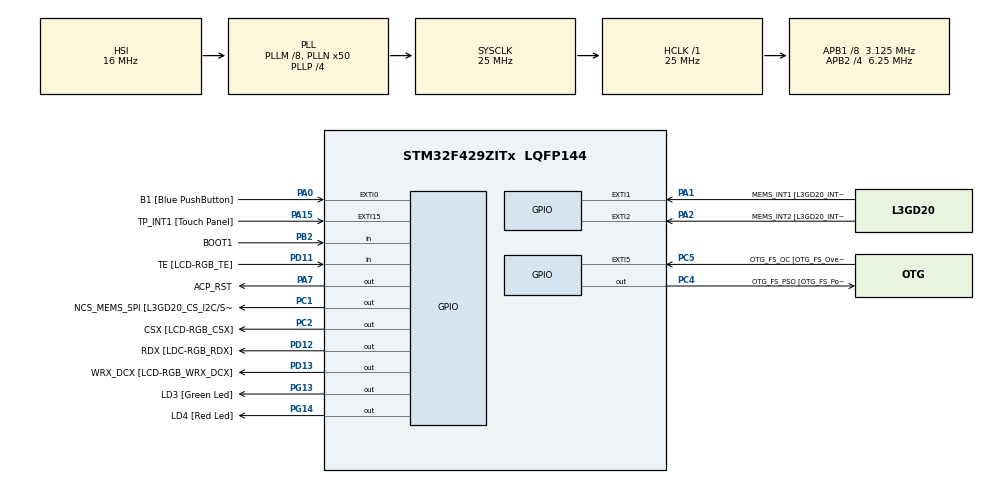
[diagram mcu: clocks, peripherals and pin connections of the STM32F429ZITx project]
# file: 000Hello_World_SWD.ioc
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Mcu.Family=STM32F4
Mcu.Name=STM32F429ZITx
Mcu.Package=LQFP144
NVIC.PriorityGroup=NVIC_PRIORITYGROUP_4
NVIC.TIM6_DAC_IRQn=true\:0\:0\:false\:false\:true\:false\:true\:true
NVIC.TimeBase=TIM6_DAC_IRQn
NVIC.TimeBaseIP=TIM6
PA0/WKUP.GPIO_Label=B1 [Blue PushButton]
PA0/WKUP.GPIO_ModeDefaultEXTI=GPIO_MODE_EVT_RISING
PA0/WKUP.GPIO_PuPd=GPIO_NOPULL
PA0/WKUP.Signal=GPXTI0
PA1.GPIO_Label=MEMS_INT1 [L3GD20_INT1]
PA1.GPIO_ModeDefaultEXTI=GPIO_MODE_EVT_RISING
PA1.GPIO_PuPd=GPIO_NOPULL
PA1.Signal=GPXTI1
PA10.GPIO_Label=STLINK_TX [STM32F103CBT6_PA2]
PA10.Signal=USART1_RX
PA11.GPIO_Label=R4
PA11.GPIO_Mode=GPIO_MODE_AF_PP
PA11.GPIO_PuPd=GPIO_NOPULL
PA11.GPIO_Speed=GPIO_SPEED_FREQ_LOW
PA11.Signal=LTDC_R4
PA12.GPIO_Label=R5
PA12.GPIO_Mode=GPIO_MODE_AF_PP
PA12.GPIO_PuPd=GPIO_NOPULL
PA12.GPIO_Speed=GPIO_SPEED_FREQ_LOW
PA12.Signal=LTDC_R5
PA13.GPIO_Label=SWDIO
PA13.Signal=SYS_JTMS-SWDIO
PA14.GPIO_Label=SWCLK
PA14.Signal=SYS_JTCK-SWCLK
PA15.GPIO_Label=TP_INT1 [Touch Panel]
PA15.GPIO_ModeDefaultEXTI=GPIO_MODE_EVT_RISING
PA15.GPIO_PuPd=GPIO_NOPULL
PA15.Signal=GPXTI15
PA2.GPIO_Label=MEMS_INT2 [L3GD20_INT2]
PA2.GPIO_ModeDefaultEXTI=GPIO_MODE_EVT_RISING
PA2.GPIO_PuPd=GPIO_NOPULL
PA2.Signal=GPXTI2
PA3.GPIO_Label=B5
PA3.GPIO_Mode=GPIO_MODE_AF_PP
PA3.GPIO_PuPd=GPIO_NOPULL
PA3.GPIO_Speed=GPIO_SPEED_FREQ_LOW
PA3.Signal=LTDC_B5
PA4.GPIO_Label=VSYNC
PA4.GPIO_Mode=GPIO_MODE_AF_PP
PA4.GPIO_PuPd=GPIO_NOPULL
PA4.GPIO_Speed=GPIO_SPEED_FREQ_LOW
PA4.Signal=LTDC_VSYNC
PA6.GPIO_Label=G2
PA6.GPIO_Mode=GPIO_MODE_AF_PP
PA6.GPIO_PuPd=GPIO_NOPULL
PA6.GPIO_Speed=GPIO_SPEED_FREQ_LOW
PA6.Signal=LTDC_G2
PA7.GPIO_Label=ACP_RST
PA7.GPIO_Mode=GPIO_MODE_OUTPUT_PP
PA7.GPIO_PuPd=GPIO_NOPULL
PA7.GPIO_Speed=GPIO_SPEED_FREQ_LOW
PA7.Signal=GPIO_Output
PA8.GPIO_Label=I2C3_SCL [ACP/RF_SCL]
PA8.GPIO_Mode=GPIO_MODE_AF_OD
PA8.GPIO_PuPd=GPIO_NOPULL
PA8.GPIO_Speed=GPIO_SPEED_FREQ_LOW
PA8.Signal=I2C3_SCL
PA9.GPIO_Label=STLINK_RX [STM32F103CBT6_PA3]
PA9.Signal=USART1_TX
PB0.GPIO_Label=R3
PB0.GPIO_Mode=GPIO_MODE_AF_PP
PB0.GPIO_PuPd=GPIO_NOPULL
PB0.GPIO_Speed=GPIO_SPEED_FREQ_LOW
PB0.Signal=LTDC_R3
PB1.GPIO_Label=R6
PB1.GPIO_Mode=GPIO_MODE_AF_PP
PB1.GPIO_PuPd=GPIO_NOPULL
PB1.GPIO_Speed=GPIO_SPEED_FREQ_LOW
PB1.Signal=LTDC_R6
PB10.GPIO_Label=G4
PB10.GPIO_Mode=GPIO_MODE_AF_PP
PB10.GPIO_PuPd=GPIO_NOPULL
PB10.GPIO_Speed=GPIO_SPEED_FREQ_LOW
PB10.Signal=LTDC_G4
PB11.GPIO_Label=G5
PB11.GPIO_Mode=GPIO_MODE_AF_PP
PB11.GPIO_PuPd=GPIO_NOPULL
PB11.GPIO_Speed=GPIO_SPEED_FREQ_LOW
PB11.Signal=LTDC_G5
PB12.GPIO_Label=OTG_HS_ID
PB12.GPIO_Mode=GPIO_MODE_AF_PP
PB12.GPIO_PuPd=GPIO_NOPULL
PB12.GPIO_Speed=GPIO_SPEED_FREQ_LOW
PB12.Signal=USB_OTG_HS_ID
PB13.GPIO_Label=VBUS_HS
PB13.GPIO_Mode=GPIO_MODE_INPUT
PB13.GPIO_PuPd=GPIO_NOPULL
PB13.Signal=USB_OTG_HS_VBUS
PB14.GPIO_Label=OTG_HS_DM
PB14.GPIO_Mode=GPIO_MODE_AF_PP
PB14.GPIO_PuPd=GPIO_NOPULL
PB14.GPIO_Speed=GPIO_SPEED_FREQ_LOW
PB14.Signal=USB_OTG_HS_DM
PB15.GPIO_Label=OTG_HS_DP
PB15.GPIO_Mode=GPIO_MODE_AF_PP
PB15.GPIO_PuPd=GPIO_NOPULL
PB15.GPIO_Speed=GPIO_SPEED_FREQ_LOW
PB15.Signal=USB_OTG_HS_DP
PB2/BOOT1.GPIO_Label=BOOT1
PB2/BOOT1.GPIO_Mode=GPIO_MODE_INPUT
PB2/BOOT1.GPIO_PuPd=GPIO_NOPULL
PB2/BOOT1.Signal=GPIO_Input
PB5.GPIO_Label=SDCKE1
PB5.GPIO_Mode=GPIO_MODE_AF_PP
PB5.GPIO_PuPd=GPIO_NOPULL
PB5.GPIO_Speed=GPIO_SPEED_FREQ_VERY_HIGH
PB5.Signal=FMC_SDCKE1
PB6.GPIO_Label=SDNE1 [SDRAM_CS]
PB6.GPIO_Mode=GPIO_MODE_AF_PP
PB6.GPIO_PuPd=GPIO_NOPULL
PB6.GPIO_Speed=GPIO_SPEED_FREQ_VERY_HIGH
PB6.Signal=FMC_SDNE1
PB8.GPIO_Label=B6
PB8.GPIO_Mode=GPIO_MODE_AF_PP
PB8.GPIO_PuPd=GPIO_NOPULL
PB8.GPIO_Speed=GPIO_SPEED_FREQ_LOW
PB8.Signal=LTDC_B6
PB9.GPIO_Label=B7
PB9.GPIO_Mode=GPIO_MODE_AF_PP
PB9.GPIO_PuPd=GPIO_NOPULL
PB9.GPIO_Speed=GPIO_SPEED_FREQ_LOW
PB9.Signal=LTDC_B7
PC0.GPIO_Label=SDNWE
PC0.GPIO_Mode=GPIO_MODE_AF_PP
PC0.GPIO_PuPd=GPIO_NOPULL
PC0.GPIO_Speed=GPIO_SPEED_FREQ_VERY_HIGH
PC0.Signal=FMC_SDNWE
PC1.GPIO_Label=NCS_MEMS_SPI [L3GD20_CS_I2C/SPI]
PC1.GPIO_Mode=GPIO_MODE_OUTPUT_PP
PC1.GPIO_PuPd=GPIO_NOPULL
PC1.GPIO_Speed=GPIO_SPEED_FREQ_LOW
PC1.Signal=GPIO_Output
PC10.GPIO_Label=R2
PC10.GPIO_Mode=GPIO_MODE_AF_PP
PC10.GPIO_PuPd=GPIO_NOPULL
PC10.GPIO_Speed=GPIO_SPEED_FREQ_LOW
PC10.Signal=LTDC_R2
PC14/OSC32_IN.GPIO_Label=PC14-OSC32_IN
PC14/OSC32_IN.Signal=RCC_OSC32_IN
PC15/OSC32_OUT.GPIO_Label=PC15-OSC32_OUT
PC15/OSC32_OUT.Signal=RCC_OSC32_OUT
PC2.GPIO_Label=CSX [LCD-RGB_CSX]
PC2.GPIO_Mode=GPIO_MODE_OUTPUT_PP
PC2.GPIO_PuPd=GPIO_NOPULL
PC2.GPIO_Speed=GPIO_SPEED_FREQ_LOW
PC2.Signal=GPIO_Output
PC4.GPIO_Label=OTG_FS_PSO [OTG_FS_PowerSwitchOn]
PC4.GPIO_Mode=GPIO_MODE_OUTPUT_PP
PC4.GPIO_PuPd=GPIO_NOPULL
PC4.GPIO_Speed=GPIO_SPEED_FREQ_LOW
PC4.Signal=GPIO_Output
PC5.GPIO_Label=OTG_FS_OC [OTG_FS_OverCurrent]
PC5.GPIO_ModeDefaultEXTI=GPIO_MODE_EVT_RISING
PC5.Signal=GPXTI5
PC6.GPIO_Label=HSYNC
PC6.GPIO_Mode=GPIO_MODE_AF_PP
PC6.GPIO_PuPd=GPIO_NOPULL
PC6.GPIO_Speed=GPIO_SPEED_FREQ_LOW
PC6.Signal=LTDC_HSYNC
PC7.GPIO_Label=G6
PC7.GPIO_Mode=GPIO_MODE_AF_PP
PC7.GPIO_PuPd=GPIO_NOPULL
PC7.GPIO_Speed=GPIO_SPEED_FREQ_LOW
PC7.Signal=LTDC_G6
PC9.GPIO_Label=I2C3_SDA [ACP/RF_SDA]
PC9.GPIO_Mode=GPIO_MODE_AF_OD
PC9.GPIO_PuPd=GPIO_NOPULL
PC9.GPIO_Speed=GPIO_SPEED_FREQ_LOW
PC9.Signal=I2C3_SDA
PD0.GPIO_Label=D2
PD0.GPIO_Mode=GPIO_MODE_AF_PP
PD0.GPIO_PuPd=GPIO_NOPULL
PD0.GPIO_Speed=GPIO_SPEED_FREQ_VERY_HIGH
PD0.Signal=FMC_D2_DA2
PD1.GPIO_Label=D3
PD1.GPIO_Mode=GPIO_MODE_AF_PP
PD1.GPIO_PuPd=GPIO_NOPULL
PD1.GPIO_Speed=GPIO_SPEED_FREQ_VERY_HIGH
PD1.Signal=FMC_D3_DA3
PD10.GPIO_Label=D15
PD10.GPIO_Mode=GPIO_MODE_AF_PP
PD10.GPIO_PuPd=GPIO_NOPULL
PD10.GPIO_Speed=GPIO_SPEED_FREQ_VERY_HIGH
PD10.Signal=FMC_D15_DA15
PD11.GPIO_Label=TE [LCD-RGB_TE]
PD11.GPIO_Mode=GPIO_MODE_INPUT
PD11.GPIO_PuPd=GPIO_NOPULL
PD11.Signal=GPIO_Input
PD12.GPIO_Label=RDX [LDC-RGB_RDX]
PD12.GPIO_Mode=GPIO_MODE_OUTPUT_PP
PD12.GPIO_PuPd=GPIO_NOPULL
PD12.GPIO_Speed=GPIO_SPEED_FREQ_LOW
PD12.Signal=GPIO_Output
PD13.GPIO_Label=WRX_DCX [LCD-RGB_WRX_DCX]
PD13.GPIO_Mode=GPIO_MODE_OUTPUT_PP
PD13.GPIO_PuPd=GPIO_NOPULL
PD13.GPIO_Speed=GPIO_SPEED_FREQ_LOW
PD13.Signal=GPIO_Output
PD14.GPIO_Label=D0
PD14.GPIO_Mode=GPIO_MODE_AF_PP
PD14.GPIO_PuPd=GPIO_NOPULL
PD14.GPIO_Speed=GPIO_SPEED_FREQ_VERY_HIGH
PD14.Signal=FMC_D0_DA0
PD15.GPIO_Label=D1
PD15.GPIO_Mode=GPIO_MODE_AF_PP
PD15.GPIO_PuPd=GPIO_NOPULL
PD15.GPIO_Speed=GPIO_SPEED_FREQ_VERY_HIGH
PD15.Signal=FMC_D1_DA1
PD3.GPIO_Label=G7
PD3.GPIO_Mode=GPIO_MODE_AF_PP
PD3.GPIO_PuPd=GPIO_NOPULL
PD3.GPIO_Speed=GPIO_SPEED_FREQ_LOW
PD3.Signal=LTDC_G7
PD6.GPIO_Label=B2
PD6.GPIO_Mode=GPIO_MODE_AF_PP
PD6.GPIO_PuPd=GPIO_NOPULL
PD6.GPIO_Speed=GPIO_SPEED_FREQ_LOW
PD6.Signal=LTDC_B2
PD8.GPIO_Label=D13
PD8.GPIO_Mode=GPIO_MODE_AF_PP
PD8.GPIO_PuPd=GPIO_NOPULL
PD8.GPIO_Speed=GPIO_SPEED_FREQ_VERY_HIGH
PD8.Signal=FMC_D13_DA13
PD9.GPIO_Label=D14
PD9.GPIO_Mode=GPIO_MODE_AF_PP
PD9.GPIO_PuPd=GPIO_NOPULL
PD9.GPIO_Speed=GPIO_SPEED_FREQ_VERY_HIGH
PD9.Signal=FMC_D14_DA14
PE0.GPIO_Label=NBL0 [SDRAM_LDQM]
PE0.GPIO_Mode=GPIO_MODE_AF_PP
PE0.GPIO_PuPd=GPIO_NOPULL
PE0.GPIO_Speed=GPIO_SPEED_FREQ_VERY_HIGH
PE0.Signal=FMC_NBL0
PE1.GPIO_Label=NBL1 [SDRAM_UDQM]
PE1.GPIO_Mode=GPIO_MODE_AF_PP
PE1.GPIO_PuPd=GPIO_NOPULL
PE1.GPIO_Speed=GPIO_SPEED_FREQ_VERY_HIGH
PE1.Signal=FMC_NBL1
PE10.GPIO_Label=D7
PE10.GPIO_Mode=GPIO_MODE_AF_PP
PE10.GPIO_PuPd=GPIO_NOPULL
PE10.GPIO_Speed=GPIO_SPEED_FREQ_VERY_HIGH
PE10.Signal=FMC_D7_DA7
PE11.GPIO_Label=D8
PE11.GPIO_Mode=GPIO_MODE_AF_PP
PE11.GPIO_PuPd=GPIO_NOPULL
PE11.GPIO_Speed=GPIO_SPEED_FREQ_VERY_HIGH
PE11.Signal=FMC_D8_DA8
PE12.GPIO_Label=D9
PE12.GPIO_Mode=GPIO_MODE_AF_PP
PE12.GPIO_PuPd=GPIO_NOPULL
PE12.GPIO_Speed=GPIO_SPEED_FREQ_VERY_HIGH
PE12.Signal=FMC_D9_DA9
PE13.GPIO_Label=D10
PE13.GPIO_Mode=GPIO_MODE_AF_PP
PE13.GPIO_PuPd=GPIO_NOPULL
PE13.GPIO_Speed=GPIO_SPEED_FREQ_VERY_HIGH
PE13.Signal=FMC_D10_DA10
PE14.GPIO_Label=D11
PE14.GPIO_Mode=GPIO_MODE_AF_PP
PE14.GPIO_PuPd=GPIO_NOPULL
PE14.GPIO_Speed=GPIO_SPEED_FREQ_VERY_HIGH
PE14.Signal=FMC_D11_DA11
PE15.GPIO_Label=D12
PE15.GPIO_Mode=GPIO_MODE_AF_PP
PE15.GPIO_PuPd=GPIO_NOPULL
PE15.GPIO_Speed=GPIO_SPEED_FREQ_VERY_HIGH
PE15.Signal=FMC_D12_DA12
PE7.GPIO_Label=D4
PE7.GPIO_Mode=GPIO_MODE_AF_PP
PE7.GPIO_PuPd=GPIO_NOPULL
PE7.GPIO_Speed=GPIO_SPEED_FREQ_VERY_HIGH
PE7.Signal=FMC_D4_DA4
PE8.GPIO_Label=D5
PE8.GPIO_Mode=GPIO_MODE_AF_PP
PE8.GPIO_PuPd=GPIO_NOPULL
PE8.GPIO_Speed=GPIO_SPEED_FREQ_VERY_HIGH
PE8.Signal=FMC_D5_DA5
PE9.GPIO_Label=D6
PE9.GPIO_Mode=GPIO_MODE_AF_PP
PE9.GPIO_PuPd=GPIO_NOPULL
PE9.GPIO_Speed=GPIO_SPEED_FREQ_VERY_HIGH
PE9.Signal=FMC_D6_DA6
PF0.GPIO_Label=A0
PF0.GPIO_Mode=GPIO_MODE_AF_PP
PF0.GPIO_PuPd=GPIO_NOPULL
PF0.GPIO_Speed=GPIO_SPEED_FREQ_VERY_HIGH
PF0.Signal=FMC_A0
PF1.GPIO_Label=A1
PF1.GPIO_Mode=GPIO_MODE_AF_PP
PF1.GPIO_PuPd=GPIO_NOPULL
PF1.GPIO_Speed=GPIO_SPEED_FREQ_VERY_HIGH
PF1.Signal=FMC_A1
PF10.GPIO_Label=ENABLE [LCD-RGB_ENABLE]
PF10.GPIO_Mode=GPIO_MODE_AF_PP
PF10.GPIO_PuPd=GPIO_NOPULL
PF10.GPIO_Speed=GPIO_SPEED_FREQ_LOW
PF10.Signal=LTDC_DE
PF11.GPIO_Label=SDNRAS
PF11.GPIO_Mode=GPIO_MODE_AF_PP
PF11.GPIO_PuPd=GPIO_NOPULL
PF11.GPIO_Speed=GPIO_SPEED_FREQ_VERY_HIGH
PF11.Signal=FMC_SDNRAS
PF12.GPIO_Label=A6
PF12.GPIO_Mode=GPIO_MODE_AF_PP
PF12.GPIO_PuPd=GPIO_NOPULL
PF12.GPIO_Speed=GPIO_SPEED_FREQ_VERY_HIGH
PF12.Signal=FMC_A6
PF13.GPIO_Label=A7
PF13.GPIO_Mode=GPIO_MODE_AF_PP
PF13.GPIO_PuPd=GPIO_NOPULL
PF13.GPIO_Speed=GPIO_SPEED_FREQ_VERY_HIGH
PF13.Signal=FMC_A7
PF14.GPIO_Label=A8
PF14.GPIO_Mode=GPIO_MODE_AF_PP
PF14.GPIO_PuPd=GPIO_NOPULL
PF14.GPIO_Speed=GPIO_SPEED_FREQ_VERY_HIGH
PF14.Signal=FMC_A8
PF15.GPIO_Label=A9
PF15.GPIO_Mode=GPIO_MODE_AF_PP
PF15.GPIO_PuPd=GPIO_NOPULL
PF15.GPIO_Speed=GPIO_SPEED_FREQ_VERY_HIGH
PF15.Signal=FMC_A9
PF2.GPIO_Label=A2
PF2.GPIO_Mode=GPIO_MODE_AF_PP
PF2.GPIO_PuPd=GPIO_NOPULL
PF2.GPIO_Speed=GPIO_SPEED_FREQ_VERY_HIGH
PF2.Signal=FMC_A2
PF3.GPIO_Label=A3
PF3.GPIO_Mode=GPIO_MODE_AF_PP
PF3.GPIO_PuPd=GPIO_NOPULL
PF3.GPIO_Speed=GPIO_SPEED_FREQ_VERY_HIGH
PF3.Signal=FMC_A3
PF4.GPIO_Label=A4
PF4.GPIO_Mode=GPIO_MODE_AF_PP
PF4.GPIO_PuPd=GPIO_NOPULL
PF4.GPIO_Speed=GPIO_SPEED_FREQ_VERY_HIGH
PF4.Signal=FMC_A4
PF5.GPIO_Label=A5
PF5.GPIO_Mode=GPIO_MODE_AF_PP
PF5.GPIO_PuPd=GPIO_NOPULL
PF5.GPIO_Speed=GPIO_SPEED_FREQ_VERY_HIGH
PF5.Signal=FMC_A5
PF7.GPIO_Label=SPI5_SCK [L3GD20_SCL/SPC]
PF7.GPIO_Mode=GPIO_MODE_AF_PP
PF7.GPIO_PuPd=GPIO_NOPULL
PF7.GPIO_Speed=GPIO_SPEED_FREQ_LOW
PF7.Signal=SPI5_SCK
PF8.GPIO_Label=SPI5_MISO [L3GD20_SDO]
PF8.GPIO_Mode=GPIO_MODE_AF_PP
PF8.GPIO_PuPd=GPIO_NOPULL
PF8.GPIO_Speed=GPIO_SPEED_FREQ_LOW
PF8.Signal=SPI5_MISO
PF9.GPIO_Label=SPI5_MOSI [L3GD20_SDA/SDI/SDO]
PF9.GPIO_Mode=GPIO_MODE_AF_PP
PF9.GPIO_PuPd=GPIO_NOPULL
PF9.GPIO_Speed=GPIO_SPEED_FREQ_LOW
PF9.Signal=SPI5_MOSI
PG0.GPIO_Label=A10
PG0.GPIO_Mode=GPIO_MODE_AF_PP
PG0.GPIO_PuPd=GPIO_NOPULL
PG0.GPIO_Speed=GPIO_SPEED_FREQ_VERY_HIGH
PG0.Signal=FMC_A10
PG1.GPIO_Label=A11
PG1.GPIO_Mode=GPIO_MODE_AF_PP
PG1.GPIO_PuPd=GPIO_NOPULL
PG1.GPIO_Speed=GPIO_SPEED_FREQ_VERY_HIGH
PG1.Signal=FMC_A11
PG10.GPIO_Label=G3
PG10.GPIO_Mode=GPIO_MODE_AF_PP
PG10.GPIO_PuPd=GPIO_NOPULL
PG10.GPIO_Speed=GPIO_SPEED_FREQ_LOW
PG10.Signal=LTDC_G3
PG11.GPIO_Label=B3
PG11.GPIO_Mode=GPIO_MODE_AF_PP
PG11.GPIO_PuPd=GPIO_NOPULL
PG11.GPIO_Speed=GPIO_SPEED_FREQ_LOW
PG11.Signal=LTDC_B3
PG12.GPIO_Label=B4
PG12.GPIO_Mode=GPIO_MODE_AF_PP
PG12.GPIO_PuPd=GPIO_NOPULL
PG12.GPIO_Speed=GPIO_SPEED_FREQ_LOW
PG12.Signal=LTDC_B4
PG13.GPIO_Label=LD3 [Green Led]
PG13.GPIO_Mode=GPIO_MODE_OUTPUT_PP
PG13.GPIO_PuPd=GPIO_NOPULL
PG13.GPIO_Speed=GPIO_SPEED_FREQ_LOW
PG13.Signal=GPIO_Output
PG14.GPIO_Label=LD4 [Red Led]
PG14.GPIO_Mode=GPIO_MODE_OUTPUT_PP
PG14.GPIO_PuPd=GPIO_NOPULL
PG14.GPIO_Speed=GPIO_SPEED_FREQ_LOW
PG14.Signal=GPIO_Output
PG15.GPIO_Label=SDNCAS
PG15.GPIO_Mode=GPIO_MODE_AF_PP
PG15.GPIO_PuPd=GPIO_NOPULL
PG15.GPIO_Speed=GPIO_SPEED_FREQ_VERY_HIGH
PG15.Signal=FMC_SDNCAS
PG4.GPIO_Label=BA0
PG4.GPIO_Mode=GPIO_MODE_AF_PP
PG4.GPIO_PuPd=GPIO_NOPULL
PG4.GPIO_Speed=GPIO_SPEED_FREQ_VERY_HIGH
PG4.Signal=FMC_A14_BA0
PG5.GPIO_Label=BA1
PG5.GPIO_Mode=GPIO_MODE_AF_PP
PG5.GPIO_PuPd=GPIO_NOPULL
PG5.GPIO_Speed=GPIO_SPEED_FREQ_VERY_HIGH
PG5.Signal=FMC_A15_BA1
PG6.GPIO_Label=R7
PG6.GPIO_Mode=GPIO_MODE_AF_PP
PG6.GPIO_PuPd=GPIO_NOPULL
PG6.GPIO_Speed=GPIO_SPEED_FREQ_LOW
PG6.Signal=LTDC_R7
PG7.GPIO_Label=DOTCLK [LCT-RGB_DOTCLK]
PG7.GPIO_Mode=GPIO_MODE_AF_PP
PG7.GPIO_PuPd=GPIO_NOPULL
PG7.GPIO_Speed=GPIO_SPEED_FREQ_LOW
PG7.Signal=LTDC_CLK
PG8.GPIO_Label=SDCLK
PG8.GPIO_Mode=GPIO_MODE_AF_PP
PG8.GPIO_PuPd=GPIO_NOPULL
PG8.GPIO_Speed=GPIO_SPEED_FREQ_VERY_HIGH
PG8.Signal=FMC_SDCLK
PH0/OSC_IN.GPIO_Label=PH0-OSC_IN
PH0/OSC_IN.Signal=RCC_OSC_IN
PH1/OSC_OUT.GPIO_Label=PH1-OSC_OUT
PH1/OSC_OUT.Signal=RCC_OSC_OUT
ProjectManager.HeapSize=0x200
ProjectManager.StackSize=0x400
ProjectManager.TargetToolchain=STM32CubeIDE
RCC.48MHZClocksFreq_Value=14285714.285714285
RCC.AHBFreq_Value=25000000
RCC.APB1CLKDivider=RCC_HCLK_DIV8
RCC.APB1Freq_Value=3125000
RCC.APB1TimFreq_Value=6250000
RCC.APB2CLKDivider=RCC_HCLK_DIV4
RCC.APB2Freq_Value=6250000
RCC.APB2TimFreq_Value=12500000
RCC.CortexFreq_Value=25000000
RCC.HCLKFreq_Value=25000000
RCC.HSE_VALUE=8000000
RCC.HSI_VALUE=16000000
RCC.LSE_VALUE=32768
RCC.PLLM=8
RCC.PLLN=50
RCC.PLLP=RCC_PLLP_DIV4
RCC.PLLQ=7
RCC.SYSCLKFreq_VALUE=25000000
RCC.SYSCLKSource=RCC_SYSCLKSOURCE_PLLCLK
RCC.VCOOutputFreq_Value=100000000
SH.FMC_A0.0=FMC_A0
SH.FMC_A1.0=FMC_A1
SH.FMC_A10.0=FMC_A10
SH.FMC_A11.0=FMC_A11
SH.FMC_A14_BA0.0=FMC_BA0
SH.FMC_A15_BA1.0=FMC_BA1
SH.FMC_A2.0=FMC_A2
SH.FMC_A3.0=FMC_A3
SH.FMC_A4.0=FMC_A4
SH.FMC_A5.0=FMC_A5
SH.FMC_A6.0=FMC_A6
SH.FMC_A7.0=FMC_A7
SH.FMC_A8.0=FMC_A8
SH.FMC_A9.0=FMC_A9
SH.FMC_D0_DA0.0=FMC_D0
SH.FMC_D10_DA10.0=FMC_D10
SH.FMC_D11_DA11.0=FMC_D11
SH.FMC_D12_DA12.0=FMC_D12
SH.FMC_D13_DA13.0=FMC_D13
SH.FMC_D14_DA14.0=FMC_D14
SH.FMC_D15_DA15.0=FMC_D15
SH.FMC_D1_DA1.0=FMC_D1
SH.FMC_D2_DA2.0=FMC_D2
SH.FMC_D3_DA3.0=FMC_D3
SH.FMC_D4_DA4.0=FMC_D4
SH.FMC_D5_DA5.0=FMC_D5
SH.FMC_D6_DA6.0=FMC_D6
SH.FMC_D7_DA7.0=FMC_D7
SH.FMC_D8_DA8.0=FMC_D8
SH.FMC_D9_DA9.0=FMC_D9
SH.FMC_NBL0.0=FMC_NBL0
SH.FMC_NBL1.0=FMC_NBL1
SH.FMC_SDCLK.0=FMC_SDCLK
SH.FMC_SDNCAS.0=FMC_SDNCAS
SH.FMC_SDNRAS.0=FMC_SDNRAS
SH.FMC_SDNWE.0=FMC_SDNWE
VP_SYS_VS_tim6.Mode=TIM6
board=STM32F429I-DISC1

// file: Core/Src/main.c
/* USER CODE BEGIN Header */
/**
  ******************************************************************************
  * @file           : main.c
  * @brief          : Main program body
  ******************************************************************************
  * @attention
  *
  * Copyright (c) 2024 STMicroelectronics.
  * All rights reserved.
  *
  * This software is licensed under terms that can be found in the LICENSE file
  * in the root directory of this software component.
  * If no LICENSE file comes with this software, it is provided AS-IS.
  *
  ******************************************************************************
  */
/* USER CODE END Header */
#include "main.h"

/* USER CODE BEGIN Includes */
#include <stdio.h>
#include <string.h>
#include "FreeRTOS.h"
#include "task.h"

/* USER CODE END Includes */

/* USER CODE BEGIN PV */
#define DWT_CTRL (volatile uint32_t*)0xE0001000

/* USER CODE END PV */

void SystemClock_Config(void);
static void MX_GPIO_Init(void);
/* USER CODE BEGIN PFP */

static void Task1_Handler(void *pvParam);
static void Task2_Handler(void *pvParam);

/* USER CODE END PFP */

int main(void)
{
  /* USER CODE BEGIN 1 */

	BaseType_t xReturned = 0;
	TaskHandle_t xTask1Handle = NULL, xTask2Handle = NULL;

  /* USER CODE END 1 */

  /* MCU Configuration--------------------------------------------------------*/

  /* Reset of all peripherals, Initializes the Flash interface and the Systick. */
  HAL_Init();

  /* Configure the system clock */
  SystemClock_Config();

  /* Initialize all configured peripherals */
  MX_GPIO_Init();
  /* USER CODE BEGIN 2 */

  xReturned = xTaskCreate(Task1_Handler, "Task-1", 200, "Hello world from Task-1", 2, &xTask1Handle);
  configASSERT(pdPASS == xReturned);

  xReturned = xTaskCreate(Task2_Handler, "Task-2", 200, "Hello world from Task-2", 2, &xTask2Handle);
  configASSERT(pdPASS == xReturned);

  // start the scheduler
  vTaskStartScheduler();

  /* USER CODE END 2 */

  /* Infinite loop */
  while (1)
  {

  }
}

void SystemClock_Config(void)
{
  RCC_OscInitTypeDef RCC_OscInitStruct = {0};
  RCC_ClkInitTypeDef RCC_ClkInitStruct = {0};

  /** Configure the main internal regulator output voltage
  */
  __HAL_RCC_PWR_CLK_ENABLE();
  __HAL_PWR_VOLTAGESCALING_CONFIG(PWR_REGULATOR_VOLTAGE_SCALE3);

  /** Initializes the RCC Oscillators according to the specified parameters
  * in the RCC_OscInitTypeDef structure.
  */
  RCC_OscInitStruct.OscillatorType = RCC_OSCILLATORTYPE_HSI;
  RCC_OscInitStruct.HSIState = RCC_HSI_ON;
  RCC_OscInitStruct.HSICalibrationValue = RCC_HSICALIBRATION_DEFAULT;
  RCC_OscInitStruct.PLL.PLLState = RCC_PLL_ON;
  RCC_OscInitStruct.PLL.PLLSource = RCC_PLLSOURCE_HSI;
  RCC_OscInitStruct.PLL.PLLM = 8;
  RCC_OscInitStruct.PLL.PLLN = 50;
  RCC_OscInitStruct.PLL.PLLP = RCC_PLLP_DIV4;
  RCC_OscInitStruct.PLL.PLLQ = 7;
  if (HAL_RCC_OscConfig(&RCC_OscInitStruct) != HAL_OK)
  {
    Error_Handler();
  }

  /** Initializes the CPU, AHB and APB buses clocks
  */
  RCC_ClkInitStruct.ClockType = RCC_CLOCKTYPE_HCLK|RCC_CLOCKTYPE_SYSCLK
                              |RCC_CLOCKTYPE_PCLK1|RCC_CLOCKTYPE_PCLK2;
  RCC_ClkInitStruct.SYSCLKSource = RCC_SYSCLKSOURCE_PLLCLK;
  RCC_ClkInitStruct.AHBCLKDivider = RCC_SYSCLK_DIV1;
  RCC_ClkInitStruct.APB1CLKDivider = RCC_HCLK_DIV8;
  RCC_ClkInitStruct.APB2CLKDivider = RCC_HCLK_DIV4;

  if (HAL_RCC_ClockConfig(&RCC_ClkInitStruct, FLASH_LATENCY_0) != HAL_OK)
  {
    Error_Handler();
  }
}

static void MX_GPIO_Init(void)
{
  GPIO_InitTypeDef GPIO_InitStruct = {0};

  /* GPIO Ports Clock Enable */
  __HAL_RCC_GPIOC_CLK_ENABLE();
  __HAL_RCC_GPIOF_CLK_ENABLE();
  __HAL_RCC_GPIOH_CLK_ENABLE();
  __HAL_RCC_GPIOA_CLK_ENABLE();
  __HAL_RCC_GPIOB_CLK_ENABLE();
  __HAL_RCC_GPIOG_CLK_ENABLE();
  __HAL_RCC_GPIOE_CLK_ENABLE();
  __HAL_RCC_GPIOD_CLK_ENABLE();

  /*Configure GPIO pin Output Level */
  HAL_GPIO_WritePin(GPIOC, NCS_MEMS_SPI_Pin|CSX_Pin|OTG_FS_PSO_Pin, GPIO_PIN_RESET);

  /*Configure GPIO pin Output Level */
  HAL_GPIO_WritePin(ACP_RST_GPIO_Port, ACP_RST_Pin, GPIO_PIN_RESET);

  /*Configure GPIO pin Output Level */
  HAL_GPIO_WritePin(GPIOD, RDX_Pin|WRX_DCX_Pin, GPIO_PIN_RESET);

  /*Configure GPIO pin Output Level */
  HAL_GPIO_WritePin(GPIOG, LD3_Pin|LD4_Pin, GPIO_PIN_RESET);

  /*Configure GPIO pins : A0_Pin A1_Pin A2_Pin A3_Pin
                           A4_Pin A5_Pin SDNRAS_Pin A6_Pin
                           A7_Pin A8_Pin A9_Pin */
  GPIO_InitStruct.Pin = A0_Pin|A1_Pin|A2_Pin|A3_Pin
                          |A4_Pin|A5_Pin|SDNRAS_Pin|A6_Pin
                          |A7_Pin|A8_Pin|A9_Pin;
  GPIO_InitStruct.Mode = GPIO_MODE_AF_PP;
  GPIO_InitStruct.Pull = GPIO_NOPULL;
  GPIO_InitStruct.Speed = GPIO_SPEED_FREQ_VERY_HIGH;
  GPIO_InitStruct.Alternate = GPIO_AF12_FMC;
  HAL_GPIO_Init(GPIOF, &GPIO_InitStruct);

  /*Configure GPIO pins : SPI5_SCK_Pin SPI5_MISO_Pin SPI5_MOSI_Pin */
  GPIO_InitStruct.Pin = SPI5_SCK_Pin|SPI5_MISO_Pin|SPI5_MOSI_Pin;
  GPIO_InitStruct.Mode = GPIO_MODE_AF_PP;
  GPIO_InitStruct.Pull = GPIO_NOPULL;
  GPIO_InitStruct.Speed = GPIO_SPEED_FREQ_LOW;
  GPIO_InitStruct.Alternate = GPIO_AF5_SPI5;
  HAL_GPIO_Init(GPIOF, &GPIO_InitStruct);

  /*Configure GPIO pin : ENABLE_Pin */
  GPIO_InitStruct.Pin = ENABLE_Pin;
  GPIO_InitStruct.Mode = GPIO_MODE_AF_PP;
  GPIO_InitStruct.Pull = GPIO_NOPULL;
  GPIO_InitStruct.Speed = GPIO_SPEED_FREQ_LOW;
  GPIO_InitStruct.Alternate = GPIO_AF14_LTDC;
  HAL_GPIO_Init(ENABLE_GPIO_Port, &GPIO_InitStruct);

  /*Configure GPIO pin : SDNWE_Pin */
  GPIO_InitStruct.Pin = SDNWE_Pin;
  GPIO_InitStruct.Mode = GPIO_MODE_AF_PP;
  GPIO_InitStruct.Pull = GPIO_NOPULL;
  GPIO_InitStruct.Speed = GPIO_SPEED_FREQ_VERY_HIGH;
  GPIO_InitStruct.Alternate = GPIO_AF12_FMC;
  HAL_GPIO_Init(SDNWE_GPIO_Port, &GPIO_InitStruct);

  /*Configure GPIO pins : NCS_MEMS_SPI_Pin CSX_Pin OTG_FS_PSO_Pin */
  GPIO_InitStruct.Pin = NCS_MEMS_SPI_Pin|CSX_Pin|OTG_FS_PSO_Pin;
  GPIO_InitStruct.Mode = GPIO_MODE_OUTPUT_PP;
  GPIO_InitStruct.Pull = GPIO_NOPULL;
  GPIO_InitStruct.Speed = GPIO_SPEED_FREQ_LOW;
  HAL_GPIO_Init(GPIOC, &GPIO_InitStruct);

  /*Configure GPIO pins : B1_Pin MEMS_INT1_Pin MEMS_INT2_Pin TP_INT1_Pin */
  GPIO_InitStruct.Pin = B1_Pin|MEMS_INT1_Pin|MEMS_INT2_Pin|TP_INT1_Pin;
  GPIO_InitStruct.Mode = GPIO_MODE_EVT_RISING;
  GPIO_InitStruct.Pull = GPIO_NOPULL;
  HAL_GPIO_Init(GPIOA, &GPIO_InitStruct);

  /*Configure GPIO pins : B5_Pin VSYNC_Pin G2_Pin R4_Pin
                           R5_Pin */
  GPIO_InitStruct.Pin = B5_Pin|VSYNC_Pin|G2_Pin|R4_Pin
                          |R5_Pin;
  GPIO_InitStruct.Mode = GPIO_MODE_AF_PP;
  GPIO_InitStruct.Pull = GPIO_NOPULL;
  GPIO_InitStruct.Speed = GPIO_SPEED_FREQ_LOW;
  GPIO_InitStruct.Alternate = GPIO_AF14_LTDC;
  HAL_GPIO_Init(GPIOA, &GPIO_InitStruct);

  /*Configure GPIO pin : ACP_RST_Pin */
  GPIO_InitStruct.Pin = ACP_RST_Pin;
  GPIO_InitStruct.Mode = GPIO_MODE_OUTPUT_PP;
  GPIO_InitStruct.Pull = GPIO_NOPULL;
  GPIO_InitStruct.Speed = GPIO_SPEED_FREQ_LOW;
  HAL_GPIO_Init(ACP_RST_GPIO_Port, &GPIO_InitStruct);

  /*Configure GPIO pin : OTG_FS_OC_Pin */
  GPIO_InitStruct.Pin = OTG_FS_OC_Pin;
  GPIO_InitStruct.Mode = GPIO_MODE_EVT_RISING;
  GPIO_InitStruct.Pull = GPIO_NOPULL;
  HAL_GPIO_Init(OTG_FS_OC_GPIO_Port, &GPIO_InitStruct);

  /*Configure GPIO pins : R3_Pin R6_Pin */
  GPIO_InitStruct.Pin = R3_Pin|R6_Pin;
  GPIO_InitStruct.Mode = GPIO_MODE_AF_PP;
  GPIO_InitStruct.Pull = GPIO_NOPULL;
  GPIO_InitStruct.Speed = GPIO_SPEED_FREQ_LOW;
  GPIO_InitStruct.Alternate = GPIO_AF9_LTDC;
  HAL_GPIO_Init(GPIOB, &GPIO_InitStruct);

  /*Configure GPIO pin : BOOT1_Pin */
  GPIO_InitStruct.Pin = BOOT1_Pin;
  GPIO_InitStruct.Mode = GPIO_MODE_INPUT;
  GPIO_InitStruct.Pull = GPIO_NOPULL;
  HAL_GPIO_Init(BOOT1_GPIO_Port, &GPIO_InitStruct);

  /*Configure GPIO pins : A10_Pin A11_Pin BA0_Pin BA1_Pin
                           SDCLK_Pin SDNCAS_Pin */
  GPIO_InitStruct.Pin = A10_Pin|A11_Pin|BA0_Pin|BA1_Pin
                          |SDCLK_Pin|SDNCAS_Pin;
  GPIO_InitStruct.Mode = GPIO_MODE_AF_PP;
  GPIO_InitStruct.Pull = GPIO_NOPULL;
  GPIO_InitStruct.Speed = GPIO_SPEED_FREQ_VERY_HIGH;
  GPIO_InitStruct.Alternate = GPIO_AF12_FMC;
  HAL_GPIO_Init(GPIOG, &GPIO_InitStruct);

  /*Configure GPIO pins : D4_Pin D5_Pin D6_Pin D7_Pin
                           D8_Pin D9_Pin D10_Pin D11_Pin
                           D12_Pin NBL0_Pin NBL1_Pin */
  GPIO_InitStruct.Pin = D4_Pin|D5_Pin|D6_Pin|D7_Pin
                          |D8_Pin|D9_Pin|D10_Pin|D11_Pin
                          |D12_Pin|NBL0_Pin|NBL1_Pin;
  GPIO_InitStruct.Mode = GPIO_MODE_AF_PP;
  GPIO_InitStruct.Pull = GPIO_NOPULL;
  GPIO_InitStruct.Speed = GPIO_SPEED_FREQ_VERY_HIGH;
  GPIO_InitStruct.Alternate = GPIO_AF12_FMC;
  HAL_GPIO_Init(GPIOE, &GPIO_InitStruct);

  /*Configure GPIO pins : G4_Pin G5_Pin B6_Pin B7_Pin */
  GPIO_InitStruct.Pin = G4_Pin|G5_Pin|B6_Pin|B7_Pin;
  GPIO_InitStruct.Mode = GPIO_MODE_AF_PP;
  GPIO_InitStruct.Pull = GPIO_NOPULL;
  GPIO_InitStruct.Speed = GPIO_SPEED_FREQ_LOW;
  GPIO_InitStruct.Alternate = GPIO_AF14_LTDC;
  HAL_GPIO_Init(GPIOB, &GPIO_InitStruct);

  /*Configure GPIO pins : OTG_HS_ID_Pin OTG_HS_DM_Pin OTG_HS_DP_Pin */
  GPIO_InitStruct.Pin = OTG_HS_ID_Pin|OTG_HS_DM_Pin|OTG_HS_DP_Pin;
  GPIO_InitStruct.Mode = GPIO_MODE_AF_PP;
  GPIO_InitStruct.Pull = GPIO_NOPULL;
  GPIO_InitStruct.Speed = GPIO_SPEED_FREQ_LOW;
  GPIO_InitStruct.Alternate = GPIO_AF12_OTG_HS_FS;
  HAL_GPIO_Init(GPIOB, &GPIO_InitStruct);

  /*Configure GPIO pin : VBUS_HS_Pin */
  GPIO_InitStruct.Pin = VBUS_HS_Pin;
  GPIO_InitStruct.Mode = GPIO_MODE_INPUT;
  GPIO_InitStruct.Pull = GPIO_NOPULL;
  HAL_GPIO_Init(VBUS_HS_GPIO_Port, &GPIO_InitStruct);

  /*Configure GPIO pins : D13_Pin D14_Pin D15_Pin D0_Pin
                           D1_Pin D2_Pin D3_Pin */
  GPIO_InitStruct.Pin = D13_Pin|D14_Pin|D15_Pin|D0_Pin
                          |D1_Pin|D2_Pin|D3_Pin;
  GPIO_InitStruct.Mode = GPIO_MODE_AF_PP;
  GPIO_InitStruct.Pull = GPIO_NOPULL;
  GPIO_InitStruct.Speed = GPIO_SPEED_FREQ_VERY_HIGH;
  GPIO_InitStruct.Alternate = GPIO_AF12_FMC;
  HAL_GPIO_Init(GPIOD, &GPIO_InitStruct);

  /*Configure GPIO pin : TE_Pin */
  GPIO_InitStruct.Pin = TE_Pin;
  GPIO_InitStruct.Mode = GPIO_MODE_INPUT;
  GPIO_InitStruct.Pull = GPIO_NOPULL;
  HAL_GPIO_Init(TE_GPIO_Port, &GPIO_InitStruct);

  /*Configure GPIO pins : RDX_Pin WRX_DCX_Pin */
  GPIO_InitStruct.Pin = RDX_Pin|WRX_DCX_Pin;
  GPIO_InitStruct.Mode = GPIO_MODE_OUTPUT_PP;
  GPIO_InitStruct.Pull = GPIO_NOPULL;
  GPIO_InitStruct.Speed = GPIO_SPEED_FREQ_LOW;
  HAL_GPIO_Init(GPIOD, &GPIO_InitStruct);

  /*Configure GPIO pins : R7_Pin DOTCLK_Pin B3_Pin */
  GPIO_InitStruct.Pin = R7_Pin|DOTCLK_Pin|B3_Pin;
  GPIO_InitStruct.Mode = GPIO_MODE_AF_PP;
  GPIO_InitStruct.Pull = GPIO_NOPULL;
  GPIO_InitStruct.Speed = GPIO_SPEED_FREQ_LOW;
  GPIO_InitStruct.Alternate = GPIO_AF14_LTDC;
  HAL_GPIO_Init(GPIOG, &GPIO_InitStruct);

  /*Configure GPIO pins : HSYNC_Pin G6_Pin R2_Pin */
  GPIO_InitStruct.Pin = HSYNC_Pin|G6_Pin|R2_Pin;
  GPIO_InitStruct.Mode = GPIO_MODE_AF_PP;
  GPIO_InitStruct.Pull = GPIO_NOPULL;
  GPIO_InitStruct.Speed = GPIO_SPEED_FREQ_LOW;
  GPIO_InitStruct.Alternate = GPIO_AF14_LTDC;
  HAL_GPIO_Init(GPIOC, &GPIO_InitStruct);

  /*Configure GPIO pin : I2C3_SDA_Pin */
  GPIO_InitStruct.Pin = I2C3_SDA_Pin;
  GPIO_InitStruct.Mode = GPIO_MODE_AF_OD;
  GPIO_InitStruct.Pull = GPIO_NOPULL;
  GPIO_InitStruct.Speed = GPIO_SPEED_FREQ_LOW;
  GPIO_InitStruct.Alternate = GPIO_AF4_I2C3;
  HAL_GPIO_Init(I2C3_SDA_GPIO_Port, &GPIO_InitStruct);

  /*Configure GPIO pin : I2C3_SCL_Pin */
  GPIO_InitStruct.Pin = I2C3_SCL_Pin;
  GPIO_InitStruct.Mode = GPIO_MODE_AF_OD;
  GPIO_InitStruct.Pull = GPIO_NOPULL;
  GPIO_InitStruct.Speed = GPIO_SPEED_FREQ_LOW;
  GPIO_InitStruct.Alternate = GPIO_AF4_I2C3;
  HAL_GPIO_Init(I2C3_SCL_GPIO_Port, &GPIO_InitStruct);

  /*Configure GPIO pins : STLINK_RX_Pin STLINK_TX_Pin */
  GPIO_InitStruct.Pin = STLINK_RX_Pin|STLINK_TX_Pin;
  GPIO_InitStruct.Mode = GPIO_MODE_AF_PP;
  GPIO_InitStruct.Pull = GPIO_NOPULL;
  GPIO_InitStruct.Speed = GPIO_SPEED_FREQ_VERY_HIGH;
  GPIO_InitStruct.Alternate = GPIO_AF7_USART1;
  HAL_GPIO_Init(GPIOA, &GPIO_InitStruct);

  /*Configure GPIO pins : G7_Pin B2_Pin */
  GPIO_InitStruct.Pin = G7_Pin|B2_Pin;
  GPIO_InitStruct.Mode = GPIO_MODE_AF_PP;
  GPIO_InitStruct.Pull = GPIO_NOPULL;
  GPIO_InitStruct.Speed = GPIO_SPEED_FREQ_LOW;
  GPIO_InitStruct.Alternate = GPIO_AF14_LTDC;
  HAL_GPIO_Init(GPIOD, &GPIO_InitStruct);

  /*Configure GPIO pins : G3_Pin B4_Pin */
  GPIO_InitStruct.Pin = G3_Pin|B4_Pin;
  GPIO_InitStruct.Mode = GPIO_MODE_AF_PP;
  GPIO_InitStruct.Pull = GPIO_NOPULL;
  GPIO_InitStruct.Speed = GPIO_SPEED_FREQ_LOW;
  GPIO_InitStruct.Alternate = GPIO_AF9_LTDC;
  HAL_GPIO_Init(GPIOG, &GPIO_InitStruct);

  /*Configure GPIO pins : LD3_Pin LD4_Pin */
  GPIO_InitStruct.Pin = LD3_Pin|LD4_Pin;
  GPIO_InitStruct.Mode = GPIO_MODE_OUTPUT_PP;
  GPIO_InitStruct.Pull = GPIO_NOPULL;
  GPIO_InitStruct.Speed = GPIO_SPEED_FREQ_LOW;
  HAL_GPIO_Init(GPIOG, &GPIO_InitStruct);

  /*Configure GPIO pins : SDCKE1_Pin SDNE1_Pin */
  GPIO_InitStruct.Pin = SDCKE1_Pin|SDNE1_Pin;
  GPIO_InitStruct.Mode = GPIO_MODE_AF_PP;
  GPIO_InitStruct.Pull = GPIO_NOPULL;
  GPIO_InitStruct.Speed = GPIO_SPEED_FREQ_VERY_HIGH;
  GPIO_InitStruct.Alternate = GPIO_AF12_FMC;
  HAL_GPIO_Init(GPIOB, &GPIO_InitStruct);

}

/* USER CODE BEGIN 4 */

static void Task1_Handler(void *pvParam)
{
	char msg[100];
	memset(msg, 0, sizeof(msg));

	while(1) {
		printf("%s\n", (char *)pvParam);

		taskYIELD();
	}

	vTaskDelete(NULL);
}

static void Task2_Handler(void *pvParam)
{
	char msg[100];
	memset(msg, 0, sizeof(msg));

	while(1) {
		printf("%s\n", (char *)pvParam);

		taskYIELD();
	}

	vTaskDelete(NULL);
}

/* USER CODE END 4 */

void HAL_TIM_PeriodElapsedCallback(TIM_HandleTypeDef *htim)
{
  if (htim->Instance == TIM6) {
    HAL_IncTick();
  }
}

void Error_Handler(void)
{
  __disable_irq();
  while (1)
  {
  }
}
